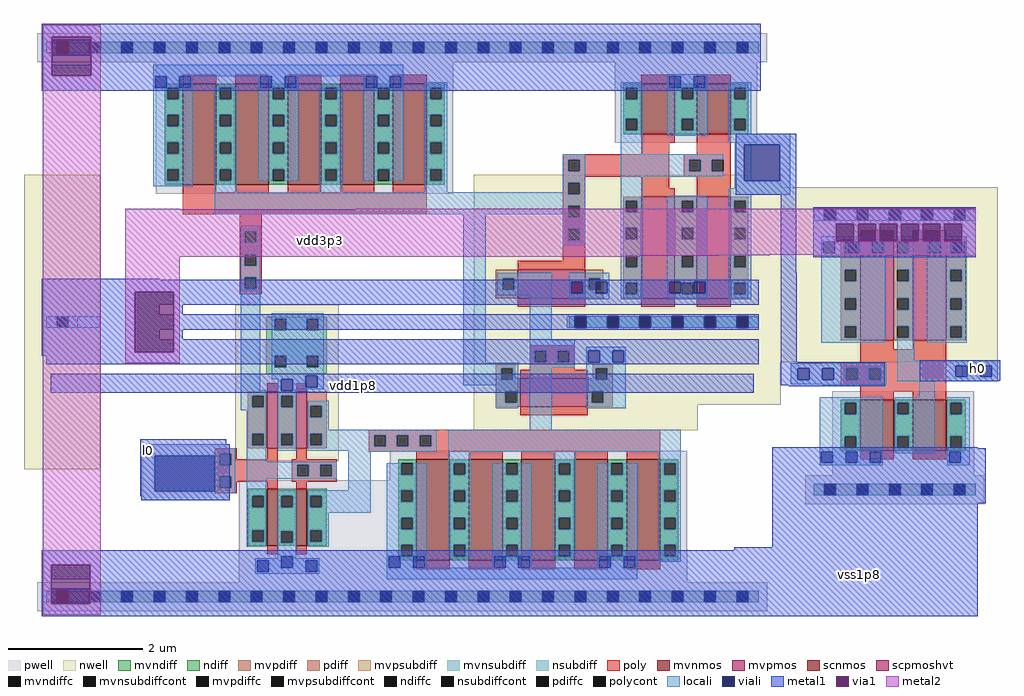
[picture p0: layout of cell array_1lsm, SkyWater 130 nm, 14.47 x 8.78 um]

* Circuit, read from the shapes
.subckt array_1lsm h0 l0 vdd1p8 vdd3p3 vss1p8
XM1 n1 n2 vss1p8 vss1p8 sky130_fd_pr__nfet_g5v0d10v5 w=1.5 l=0.5 m=5
XM2 vss1p8 l0 n2 vss1p8 sky130_fd_pr__nfet_01v8 w=0.84 l=0.15
XM3 n3 n2 vss1p8 vss1p8 sky130_fd_pr__nfet_01v8 w=0.84 l=0.15
XM4 n4 n3 vss1p8 vss1p8 sky130_fd_pr__nfet_g5v0d10v5 w=1.5 l=0.5 m=5
XM5 vss1p8 n1 n5 vss1p8 sky130_fd_pr__nfet_g5v0d10v5 w=0.75 l=0.5
XM6 invm_0/A n5 vss1p8 vss1p8 sky130_fd_pr__nfet_g5v0d10v5 w=0.75 l=0.5
XM7 h0 invm_0/A vss1p8 vss1p8 sky130_fd_pr__nfet_g5v0d10v5 w=0.75 l=0.5 m=2
XM8 vdd1p8 l0 n2 vdd1p8 sky130_fd_pr__pfet_01v8_hvt w=0.84 l=0.15
XM9 n3 n2 vdd1p8 vdd1p8 sky130_fd_pr__pfet_01v8_hvt w=0.84 l=0.15
XM10 vdd3p3 n1 n4 vdd3p3 sky130_fd_pr__pfet_g5v0d10v5 w=0.42 l=1
XM11 vdd3p3 n4 n1 vdd3p3 sky130_fd_pr__pfet_g5v0d10v5 w=0.42 l=1
XM12 vdd3p3 n1 n5 vdd3p3 sky130_fd_pr__pfet_g5v0d10v5 w=1.5 l=0.5
XM13 invm_0/A n5 vdd3p3 vdd3p3 sky130_fd_pr__pfet_g5v0d10v5 w=1.5 l=0.5
XM14 h0 invm_0/A vdd3p3 vdd3p3 sky130_fd_pr__pfet_g5v0d10v5 w=1.5 l=0.5 m=2
.ends

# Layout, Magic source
magic
tech sky130A
magscale 1 2
<< nwell >>
rect 4708 1220 4990 1474
rect 4708 954 5496 1220
<< metal1 >>
rect 4944 1220 4990 1632
rect 5082 1365 5508 1392
rect 5082 1313 5109 1365
rect 5161 1313 5173 1365
rect 5225 1313 5237 1365
rect 5289 1313 5301 1365
rect 5353 1313 5365 1365
rect 5417 1313 5429 1365
rect 5481 1313 5508 1365
rect 5082 1286 5508 1313
rect 2998 1164 3170 1200
rect 2998 984 3028 1164
rect 3144 984 3170 1164
rect 2998 954 3170 984
rect 3000 952 3168 954
rect 3658 866 3942 920
rect 4944 886 4992 1220
rect 5480 900 5594 960
rect 3044 558 3300 726
rect 4918 406 5528 702
rect 4806 202 5528 406
<< via1 >>
rect 5109 1313 5161 1365
rect 5173 1313 5225 1365
rect 5237 1313 5289 1365
rect 5301 1313 5353 1365
rect 5365 1313 5417 1365
rect 5429 1313 5481 1365
rect 3028 984 3144 1164
<< metal2 >>
rect 5042 1410 5518 1412
rect 3000 1408 3162 1410
rect 3684 1408 5522 1410
rect 3000 1365 5522 1408
rect 3000 1313 5109 1365
rect 5161 1313 5173 1365
rect 5225 1313 5237 1365
rect 5289 1313 5301 1365
rect 5353 1313 5365 1365
rect 5417 1313 5429 1365
rect 5481 1313 5522 1365
rect 3000 1274 5522 1313
rect 3000 1272 4910 1274
rect 3000 1270 4760 1272
rect 5042 1270 5518 1274
rect 3000 1268 4526 1270
rect 3000 1164 3162 1268
rect 3000 984 3028 1164
rect 3144 984 3162 1164
rect 3000 952 3162 984
use invm  invm_0
transform 1 0 2804 0 1 226
box 2164 308 2788 1248
use lsm  lsm_0
transform 1 0 2766 0 1 260
box -66 -58 2206 1698
<< labels >>
flabel metal1 s 5522 926 5530 946 0 FreeSans 9304 0 0 0 h0
port 1 nsew
flabel metal1 s 3062 674 3076 714 0 FreeSans 9304 0 0 0 l0
port 2 nsew
flabel metal1 s 3674 878 3682 896 0 FreeSans 3757 0 0 0 vdd1p8
port 3 nsew
flabel metal2 s 3574 1306 3582 1324 0 FreeSans 3757 0 0 0 vdd3p3
port 4 nsew
flabel metal1 s 5156 310 5198 340 0 FreeSans 3757 0 0 0 vss1p8
port 5 nsew
<< end >>

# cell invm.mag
magic
tech sky130A
magscale 1 2
<< locali >>
rect 2170 711 2326 726
rect 2170 677 2191 711
rect 2225 677 2263 711
rect 2297 677 2326 711
rect 2170 664 2326 677
rect 2488 719 2784 734
rect 2488 685 2659 719
rect 2693 685 2731 719
rect 2765 685 2784 719
rect 2488 672 2784 685
<< viali >>
rect 2191 677 2225 711
rect 2263 677 2297 711
rect 2659 685 2693 719
rect 2731 685 2765 719
<< metal1 >>
rect 2236 1042 2718 1188
rect 2164 711 2448 728
rect 2164 677 2191 711
rect 2225 677 2263 711
rect 2297 677 2448 711
rect 2164 658 2448 677
rect 2552 719 2788 734
rect 2552 685 2659 719
rect 2693 685 2731 719
rect 2765 685 2788 719
rect 2552 672 2788 685
rect 2210 310 2748 474
use sky130_fd_sc_hvl__inv_2  sky130_fd_sc_hvl__inv_2_0
transform 1 0 2238 0 1 351
box -66 -43 546 897
<< labels >>
flabel metal1 s 2286 1114 2314 1128 0 FreeSans 25 0 0 0 vdd3p3
port 1 nsew
flabel metal1 s 2294 392 2322 406 0 FreeSans 25 0 0 0 vss3p3
port 2 nsew
flabel metal1 s 2742 694 2750 704 0 FreeSans 25 0 0 0 Y
port 3 nsew
flabel metal1 s 2192 686 2200 696 0 FreeSans 25 0 0 0 A
port 4 nsew
<< end >>

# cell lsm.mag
magic
tech sky130A
magscale 1 2
<< nwell >>
rect 1790 604 2054 660
<< locali >>
rect 2044 1339 2206 1372
rect 2044 1233 2069 1339
rect 2175 1233 2206 1339
rect 2044 1192 2206 1233
rect 282 418 544 452
rect 282 312 322 418
rect 500 312 544 418
rect 282 286 544 312
<< viali >>
rect 2069 1233 2175 1339
rect 322 312 500 418
<< metal1 >>
rect -14 1660 2118 1698
rect -14 1544 17 1660
rect 133 1544 2118 1660
rect -14 1500 2118 1544
rect 2044 1339 2206 1372
rect 2044 1233 2069 1339
rect 2175 1233 2206 1339
rect 2044 1192 2206 1233
rect -14 714 336 942
rect 884 870 1158 936
rect 886 798 1196 836
rect 892 700 1208 762
rect 218 604 482 660
rect 902 606 1204 660
rect 1790 604 2054 660
rect 282 418 544 452
rect 282 312 322 418
rect 500 312 544 418
rect 282 286 544 312
rect -14 94 2126 138
rect -14 -22 15 94
rect 131 -22 2126 94
rect -14 -58 2126 -22
<< via1 >>
rect 17 1544 133 1660
rect 15 -22 131 94
<< metal2 >>
rect -10 1660 162 1696
rect -10 1544 17 1660
rect 133 1544 162 1660
rect -10 94 162 1544
rect -10 -22 15 94
rect 131 -22 162 94
rect -10 -54 162 -22
use sky130_fd_sc_hvl__lsbuflv2hv_1  sky130_fd_sc_hvl__lsbuflv2hv_1_0
transform 1 0 0 0 1 0
box -66 -43 2178 1671
<< labels >>
flabel metal1 s 358 76 404 96 0 FreeSans 94 0 0 0 vss1p8
port 1 nsew
flabel metal1 s 400 438 418 444 0 FreeSans 94 0 0 0 A
port 2 nsew
flabel metal1 s 2194 1266 2202 1282 0 FreeSans 94 0 0 0 X
port 3 nsew
flabel metal1 s 1896 620 1922 640 0 FreeSans 61 0 0 0 vdd1p8
port 4 nsew
flabel metal1 s 210 806 254 826 0 FreeSans 61 0 0 0 vdd3p3
port 5 nsew
<< end >>

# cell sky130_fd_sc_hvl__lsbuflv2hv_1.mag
magic
tech sky130A
magscale 1 2
<< nwell >>
rect -66 377 160 1251
rect 560 403 867 865
rect 1267 568 2178 1251
rect 1267 493 1932 568
<< pwell >>
rect -26 1585 2138 1671
rect 325 1195 1207 1585
rect 1685 1345 2108 1585
rect 1018 345 1900 433
rect 571 43 1900 345
rect -26 -43 2138 43
<< scnmos >>
rect 656 151 686 319
rect 742 151 772 319
<< scpmoshvt >>
rect 656 439 686 607
rect 742 439 772 607
<< mvnmos >>
rect 404 1221 504 1521
rect 560 1221 660 1521
rect 716 1221 816 1521
rect 872 1221 972 1521
rect 1028 1221 1128 1521
rect 1764 1371 1864 1521
rect 1929 1371 2029 1521
rect 1097 107 1197 407
rect 1253 107 1353 407
rect 1409 107 1509 407
rect 1565 107 1665 407
rect 1721 107 1821 407
<< mvpmos >>
rect 1398 885 1598 969
rect 1764 885 1864 1185
rect 1929 885 2029 1185
rect 1406 563 1606 647
<< ndiff >>
rect 597 299 656 319
rect 597 265 611 299
rect 645 265 656 299
rect 597 197 656 265
rect 597 163 611 197
rect 645 163 656 197
rect 597 151 656 163
rect 686 299 742 319
rect 686 265 697 299
rect 731 265 742 299
rect 686 193 742 265
rect 686 159 697 193
rect 731 159 742 193
rect 686 151 742 159
rect 772 299 831 319
rect 772 265 783 299
rect 817 265 831 299
rect 772 197 831 265
rect 772 163 783 197
rect 817 163 831 197
rect 772 151 831 163
<< pdiff >>
rect 597 595 656 607
rect 597 561 611 595
rect 645 561 656 595
rect 597 483 656 561
rect 597 449 611 483
rect 645 449 656 483
rect 597 439 656 449
rect 686 595 742 607
rect 686 561 697 595
rect 731 561 742 595
rect 686 483 742 561
rect 686 449 697 483
rect 731 449 742 483
rect 686 439 742 449
rect 772 565 831 607
rect 772 531 783 565
rect 817 531 831 565
rect 772 483 831 531
rect 772 449 783 483
rect 817 449 831 483
rect 772 439 831 449
<< mvndiff >>
rect 351 1509 404 1521
rect 351 1475 359 1509
rect 393 1475 404 1509
rect 351 1429 404 1475
rect 351 1395 359 1429
rect 393 1395 404 1429
rect 351 1347 404 1395
rect 351 1313 359 1347
rect 393 1313 404 1347
rect 351 1267 404 1313
rect 351 1233 359 1267
rect 393 1233 404 1267
rect 351 1221 404 1233
rect 504 1509 560 1521
rect 504 1475 515 1509
rect 549 1475 560 1509
rect 504 1429 560 1475
rect 504 1395 515 1429
rect 549 1395 560 1429
rect 504 1347 560 1395
rect 504 1313 515 1347
rect 549 1313 560 1347
rect 504 1267 560 1313
rect 504 1233 515 1267
rect 549 1233 560 1267
rect 504 1221 560 1233
rect 660 1509 716 1521
rect 660 1475 671 1509
rect 705 1475 716 1509
rect 660 1429 716 1475
rect 660 1395 671 1429
rect 705 1395 716 1429
rect 660 1347 716 1395
rect 660 1313 671 1347
rect 705 1313 716 1347
rect 660 1267 716 1313
rect 660 1233 671 1267
rect 705 1233 716 1267
rect 660 1221 716 1233
rect 816 1509 872 1521
rect 816 1475 827 1509
rect 861 1475 872 1509
rect 816 1429 872 1475
rect 816 1395 827 1429
rect 861 1395 872 1429
rect 816 1347 872 1395
rect 816 1313 827 1347
rect 861 1313 872 1347
rect 816 1267 872 1313
rect 816 1233 827 1267
rect 861 1233 872 1267
rect 816 1221 872 1233
rect 972 1509 1028 1521
rect 972 1475 983 1509
rect 1017 1475 1028 1509
rect 972 1429 1028 1475
rect 972 1395 983 1429
rect 1017 1395 1028 1429
rect 972 1347 1028 1395
rect 972 1313 983 1347
rect 1017 1313 1028 1347
rect 972 1267 1028 1313
rect 972 1233 983 1267
rect 1017 1233 1028 1267
rect 972 1221 1028 1233
rect 1128 1509 1181 1521
rect 1128 1475 1139 1509
rect 1173 1475 1181 1509
rect 1128 1429 1181 1475
rect 1128 1395 1139 1429
rect 1173 1395 1181 1429
rect 1128 1347 1181 1395
rect 1711 1509 1764 1521
rect 1711 1475 1719 1509
rect 1753 1475 1764 1509
rect 1711 1417 1764 1475
rect 1711 1383 1719 1417
rect 1753 1383 1764 1417
rect 1711 1371 1764 1383
rect 1864 1509 1929 1521
rect 1864 1475 1884 1509
rect 1918 1475 1929 1509
rect 1864 1417 1929 1475
rect 1864 1383 1884 1417
rect 1918 1383 1929 1417
rect 1864 1371 1929 1383
rect 2029 1509 2082 1521
rect 2029 1475 2040 1509
rect 2074 1475 2082 1509
rect 2029 1417 2082 1475
rect 2029 1383 2040 1417
rect 2074 1383 2082 1417
rect 2029 1371 2082 1383
rect 1128 1313 1139 1347
rect 1173 1313 1181 1347
rect 1128 1267 1181 1313
rect 1128 1233 1139 1267
rect 1173 1233 1181 1267
rect 1128 1221 1181 1233
rect 1044 395 1097 407
rect 1044 361 1052 395
rect 1086 361 1097 395
rect 1044 315 1097 361
rect 1044 281 1052 315
rect 1086 281 1097 315
rect 1044 233 1097 281
rect 1044 199 1052 233
rect 1086 199 1097 233
rect 1044 153 1097 199
rect 1044 119 1052 153
rect 1086 119 1097 153
rect 1044 107 1097 119
rect 1197 395 1253 407
rect 1197 361 1208 395
rect 1242 361 1253 395
rect 1197 315 1253 361
rect 1197 281 1208 315
rect 1242 281 1253 315
rect 1197 233 1253 281
rect 1197 199 1208 233
rect 1242 199 1253 233
rect 1197 153 1253 199
rect 1197 119 1208 153
rect 1242 119 1253 153
rect 1197 107 1253 119
rect 1353 395 1409 407
rect 1353 361 1364 395
rect 1398 361 1409 395
rect 1353 315 1409 361
rect 1353 281 1364 315
rect 1398 281 1409 315
rect 1353 233 1409 281
rect 1353 199 1364 233
rect 1398 199 1409 233
rect 1353 153 1409 199
rect 1353 119 1364 153
rect 1398 119 1409 153
rect 1353 107 1409 119
rect 1509 395 1565 407
rect 1509 361 1520 395
rect 1554 361 1565 395
rect 1509 315 1565 361
rect 1509 281 1520 315
rect 1554 281 1565 315
rect 1509 233 1565 281
rect 1509 199 1520 233
rect 1554 199 1565 233
rect 1509 153 1565 199
rect 1509 119 1520 153
rect 1554 119 1565 153
rect 1509 107 1565 119
rect 1665 395 1721 407
rect 1665 361 1676 395
rect 1710 361 1721 395
rect 1665 315 1721 361
rect 1665 281 1676 315
rect 1710 281 1721 315
rect 1665 233 1721 281
rect 1665 199 1676 233
rect 1710 199 1721 233
rect 1665 153 1721 199
rect 1665 119 1676 153
rect 1710 119 1721 153
rect 1665 107 1721 119
rect 1821 395 1874 407
rect 1821 361 1832 395
rect 1866 361 1874 395
rect 1821 315 1874 361
rect 1821 281 1832 315
rect 1866 281 1874 315
rect 1821 233 1874 281
rect 1821 199 1832 233
rect 1866 199 1874 233
rect 1821 153 1874 199
rect 1821 119 1832 153
rect 1866 119 1874 153
rect 1821 107 1874 119
<< mvpdiff >>
rect 1711 1173 1764 1185
rect 1711 1139 1719 1173
rect 1753 1139 1764 1173
rect 1711 1093 1764 1139
rect 1711 1059 1719 1093
rect 1753 1059 1764 1093
rect 1711 1011 1764 1059
rect 1711 977 1719 1011
rect 1753 977 1764 1011
rect 1333 944 1398 969
rect 1333 910 1353 944
rect 1387 910 1398 944
rect 1333 885 1398 910
rect 1598 944 1651 969
rect 1598 910 1609 944
rect 1643 910 1651 944
rect 1598 885 1651 910
rect 1711 931 1764 977
rect 1711 897 1719 931
rect 1753 897 1764 931
rect 1711 885 1764 897
rect 1864 1173 1929 1185
rect 1864 1139 1884 1173
rect 1918 1139 1929 1173
rect 1864 1093 1929 1139
rect 1864 1059 1884 1093
rect 1918 1059 1929 1093
rect 1864 1011 1929 1059
rect 1864 977 1884 1011
rect 1918 977 1929 1011
rect 1864 931 1929 977
rect 1864 897 1884 931
rect 1918 897 1929 931
rect 1864 885 1929 897
rect 2029 1173 2082 1185
rect 2029 1139 2040 1173
rect 2074 1139 2082 1173
rect 2029 1093 2082 1139
rect 2029 1059 2040 1093
rect 2074 1059 2082 1093
rect 2029 1011 2082 1059
rect 2029 977 2040 1011
rect 2074 977 2082 1011
rect 2029 931 2082 977
rect 2029 897 2040 931
rect 2074 897 2082 931
rect 2029 885 2082 897
rect 1333 677 1391 689
rect 1333 643 1349 677
rect 1383 647 1391 677
rect 1621 677 1679 689
rect 1621 647 1629 677
rect 1383 643 1406 647
rect 1333 609 1406 643
rect 1333 575 1361 609
rect 1395 575 1406 609
rect 1333 563 1406 575
rect 1606 643 1629 647
rect 1663 643 1679 677
rect 1606 609 1679 643
rect 1606 575 1617 609
rect 1651 575 1679 609
rect 1606 563 1679 575
<< ndiffc >>
rect 611 265 645 299
rect 611 163 645 197
rect 697 265 731 299
rect 697 159 731 193
rect 783 265 817 299
rect 783 163 817 197
<< pdiffc >>
rect 611 561 645 595
rect 611 449 645 483
rect 697 561 731 595
rect 697 449 731 483
rect 783 531 817 565
rect 783 449 817 483
<< mvndiffc >>
rect 359 1475 393 1509
rect 359 1395 393 1429
rect 359 1313 393 1347
rect 359 1233 393 1267
rect 515 1475 549 1509
rect 515 1395 549 1429
rect 515 1313 549 1347
rect 515 1233 549 1267
rect 671 1475 705 1509
rect 671 1395 705 1429
rect 671 1313 705 1347
rect 671 1233 705 1267
rect 827 1475 861 1509
rect 827 1395 861 1429
rect 827 1313 861 1347
rect 827 1233 861 1267
rect 983 1475 1017 1509
rect 983 1395 1017 1429
rect 983 1313 1017 1347
rect 983 1233 1017 1267
rect 1139 1475 1173 1509
rect 1139 1395 1173 1429
rect 1719 1475 1753 1509
rect 1719 1383 1753 1417
rect 1884 1475 1918 1509
rect 1884 1383 1918 1417
rect 2040 1475 2074 1509
rect 2040 1383 2074 1417
rect 1139 1313 1173 1347
rect 1139 1233 1173 1267
rect 1052 361 1086 395
rect 1052 281 1086 315
rect 1052 199 1086 233
rect 1052 119 1086 153
rect 1208 361 1242 395
rect 1208 281 1242 315
rect 1208 199 1242 233
rect 1208 119 1242 153
rect 1364 361 1398 395
rect 1364 281 1398 315
rect 1364 199 1398 233
rect 1364 119 1398 153
rect 1520 361 1554 395
rect 1520 281 1554 315
rect 1520 199 1554 233
rect 1520 119 1554 153
rect 1676 361 1710 395
rect 1676 281 1710 315
rect 1676 199 1710 233
rect 1676 119 1710 153
rect 1832 361 1866 395
rect 1832 281 1866 315
rect 1832 199 1866 233
rect 1832 119 1866 153
<< mvpdiffc >>
rect 1719 1139 1753 1173
rect 1719 1059 1753 1093
rect 1719 977 1753 1011
rect 1353 910 1387 944
rect 1609 910 1643 944
rect 1719 897 1753 931
rect 1884 1139 1918 1173
rect 1884 1059 1918 1093
rect 1884 977 1918 1011
rect 1884 897 1918 931
rect 2040 1139 2074 1173
rect 2040 1059 2074 1093
rect 2040 977 2074 1011
rect 2040 897 2074 931
rect 1349 643 1383 677
rect 1361 575 1395 609
rect 1629 643 1663 677
rect 1617 575 1651 609
<< nsubdiff >>
rect 653 824 831 829
rect 653 790 677 824
rect 711 790 773 824
rect 807 790 831 824
rect 653 714 831 790
rect 653 680 677 714
rect 711 680 773 714
rect 807 680 831 714
rect 653 661 831 680
<< mvpsubdiff >>
rect 0 1611 31 1645
rect 65 1611 127 1645
rect 161 1611 223 1645
rect 257 1611 319 1645
rect 353 1611 415 1645
rect 449 1611 511 1645
rect 545 1611 607 1645
rect 641 1611 703 1645
rect 737 1611 799 1645
rect 833 1611 895 1645
rect 929 1611 991 1645
rect 1025 1611 1087 1645
rect 1121 1611 1183 1645
rect 1217 1611 1279 1645
rect 1313 1611 1375 1645
rect 1409 1611 1471 1645
rect 1505 1611 1567 1645
rect 1601 1611 1663 1645
rect 1697 1611 1759 1645
rect 1793 1611 1855 1645
rect 1889 1611 1951 1645
rect 1985 1611 2047 1645
rect 2081 1611 2112 1645
rect 0 -17 31 17
rect 65 -17 127 17
rect 161 -17 223 17
rect 257 -17 319 17
rect 353 -17 415 17
rect 449 -17 511 17
rect 545 -17 607 17
rect 641 -17 703 17
rect 737 -17 799 17
rect 833 -17 895 17
rect 929 -17 991 17
rect 1025 -17 1087 17
rect 1121 -17 1183 17
rect 1217 -17 1279 17
rect 1313 -17 1375 17
rect 1409 -17 1471 17
rect 1505 -17 1567 17
rect 1601 -17 1663 17
rect 1697 -17 1759 17
rect 1793 -17 1855 17
rect 1889 -17 1951 17
rect 1985 -17 2047 17
rect 2081 -17 2112 17
<< mvnsubdiff >>
rect 0 797 31 831
rect 65 797 94 831
rect 1543 797 1567 831
rect 1601 797 1663 831
rect 1697 797 1759 831
rect 1793 797 1855 831
rect 1889 797 1951 831
rect 1985 797 2047 831
rect 2081 797 2112 831
<< nsubdiffcont >>
rect 677 790 711 824
rect 773 790 807 824
rect 677 680 711 714
rect 773 680 807 714
<< mvpsubdiffcont >>
rect 31 1611 65 1645
rect 127 1611 161 1645
rect 223 1611 257 1645
rect 319 1611 353 1645
rect 415 1611 449 1645
rect 511 1611 545 1645
rect 607 1611 641 1645
rect 703 1611 737 1645
rect 799 1611 833 1645
rect 895 1611 929 1645
rect 991 1611 1025 1645
rect 1087 1611 1121 1645
rect 1183 1611 1217 1645
rect 1279 1611 1313 1645
rect 1375 1611 1409 1645
rect 1471 1611 1505 1645
rect 1567 1611 1601 1645
rect 1663 1611 1697 1645
rect 1759 1611 1793 1645
rect 1855 1611 1889 1645
rect 1951 1611 1985 1645
rect 2047 1611 2081 1645
rect 31 -17 65 17
rect 127 -17 161 17
rect 223 -17 257 17
rect 319 -17 353 17
rect 415 -17 449 17
rect 511 -17 545 17
rect 607 -17 641 17
rect 703 -17 737 17
rect 799 -17 833 17
rect 895 -17 929 17
rect 991 -17 1025 17
rect 1087 -17 1121 17
rect 1183 -17 1217 17
rect 1279 -17 1313 17
rect 1375 -17 1409 17
rect 1471 -17 1505 17
rect 1567 -17 1601 17
rect 1663 -17 1697 17
rect 1759 -17 1793 17
rect 1855 -17 1889 17
rect 1951 -17 1985 17
rect 2047 -17 2081 17
<< mvnsubdiffcont >>
rect 31 797 65 831
rect 1567 797 1601 831
rect 1663 797 1697 831
rect 1759 797 1793 831
rect 1855 797 1889 831
rect 1951 797 1985 831
rect 2047 797 2081 831
<< poly >>
rect 404 1521 504 1547
rect 560 1521 660 1547
rect 716 1521 816 1547
rect 872 1521 972 1547
rect 1028 1521 1128 1547
rect 1764 1521 1864 1547
rect 1929 1521 2029 1547
rect 1764 1345 1864 1371
rect 1764 1311 1848 1345
rect 1929 1311 2029 1371
rect 1532 1295 1848 1311
rect 1532 1261 1548 1295
rect 1582 1261 1848 1295
rect 1532 1245 1848 1261
rect 1890 1295 2029 1311
rect 1890 1261 1906 1295
rect 1940 1261 1974 1295
rect 2008 1261 2029 1295
rect 1890 1245 2029 1261
rect 1532 1227 1598 1245
rect 404 1199 504 1221
rect 560 1199 660 1221
rect 716 1199 816 1221
rect 872 1199 972 1221
rect 1028 1199 1128 1221
rect 404 1133 1128 1199
rect 1532 1193 1548 1227
rect 1582 1193 1598 1227
rect 1532 1159 1598 1193
rect 1764 1211 1848 1245
rect 1764 1185 1864 1211
rect 1929 1185 2029 1245
rect 573 1083 639 1133
rect 573 1049 589 1083
rect 623 1049 639 1083
rect 573 1015 639 1049
rect 573 981 589 1015
rect 623 981 639 1015
rect 1532 1125 1548 1159
rect 1582 1125 1598 1159
rect 1532 1091 1598 1125
rect 1532 1057 1548 1091
rect 1582 1057 1598 1091
rect 1532 995 1598 1057
rect 573 947 639 981
rect 1398 969 1598 995
rect 573 913 589 947
rect 623 913 639 947
rect 573 897 639 913
rect 1398 859 1598 885
rect 1764 859 1864 885
rect 1929 859 2029 885
rect 1433 729 1567 745
rect 1433 695 1449 729
rect 1483 695 1517 729
rect 1551 695 1567 729
rect 1433 673 1567 695
rect 1406 647 1606 673
rect 656 607 686 633
rect 742 607 772 633
rect 499 424 565 440
rect 1406 537 1606 563
rect 956 479 1821 495
rect 956 445 972 479
rect 1006 445 1040 479
rect 1074 445 1108 479
rect 1142 445 1821 479
rect 499 390 515 424
rect 549 407 565 424
rect 656 407 686 439
rect 742 407 772 439
rect 956 429 1821 445
rect 1097 407 1197 429
rect 1253 407 1353 429
rect 1409 407 1509 429
rect 1565 407 1665 429
rect 1721 407 1821 429
rect 549 390 686 407
rect 499 356 686 390
rect 499 322 515 356
rect 549 341 686 356
rect 728 391 862 407
rect 728 357 744 391
rect 778 357 812 391
rect 846 357 862 391
rect 728 341 862 357
rect 549 322 565 341
rect 499 306 565 322
rect 656 319 686 341
rect 742 319 772 341
rect 656 125 686 151
rect 742 125 772 151
rect 1097 81 1197 107
rect 1253 81 1353 107
rect 1409 81 1509 107
rect 1565 81 1665 107
rect 1721 81 1821 107
<< polycont >>
rect 1548 1261 1582 1295
rect 1906 1261 1940 1295
rect 1974 1261 2008 1295
rect 1548 1193 1582 1227
rect 589 1049 623 1083
rect 589 981 623 1015
rect 1548 1125 1582 1159
rect 1548 1057 1582 1091
rect 589 913 623 947
rect 1449 695 1483 729
rect 1517 695 1551 729
rect 972 445 1006 479
rect 1040 445 1074 479
rect 1108 445 1142 479
rect 515 390 549 424
rect 515 322 549 356
rect 744 357 778 391
rect 812 357 846 391
<< locali >>
rect 0 1611 31 1645
rect 65 1611 127 1645
rect 161 1611 223 1645
rect 257 1611 319 1645
rect 353 1611 415 1645
rect 449 1611 511 1645
rect 545 1611 607 1645
rect 641 1611 703 1645
rect 737 1611 799 1645
rect 833 1611 895 1645
rect 929 1611 991 1645
rect 1025 1611 1087 1645
rect 1121 1611 1183 1645
rect 1217 1611 1279 1645
rect 1313 1611 1375 1645
rect 1409 1611 1471 1645
rect 1505 1611 1567 1645
rect 1601 1611 1663 1645
rect 1697 1611 1759 1645
rect 1793 1611 1855 1645
rect 1889 1611 1951 1645
rect 1985 1611 2047 1645
rect 2081 1611 2112 1645
rect 317 1543 1059 1577
rect 317 1509 323 1543
rect 357 1509 395 1543
rect 429 1509 435 1543
rect 629 1509 635 1543
rect 669 1509 707 1543
rect 741 1509 747 1543
rect 941 1509 947 1543
rect 981 1509 1019 1543
rect 1053 1509 1059 1543
rect 1842 1543 1960 1549
rect 317 1475 359 1509
rect 393 1475 435 1509
rect 317 1429 435 1475
rect 317 1395 359 1429
rect 393 1395 435 1429
rect 317 1347 435 1395
rect 317 1313 359 1347
rect 393 1313 435 1347
rect 317 1267 435 1313
rect 317 1233 359 1267
rect 393 1233 435 1267
rect 317 1217 435 1233
rect 499 1475 515 1509
rect 549 1475 565 1509
rect 499 1429 565 1475
rect 499 1395 515 1429
rect 549 1395 565 1429
rect 499 1347 565 1395
rect 499 1313 515 1347
rect 549 1313 565 1347
rect 499 1267 565 1313
rect 499 1233 515 1267
rect 549 1233 565 1267
rect 629 1475 671 1509
rect 705 1475 747 1509
rect 629 1429 747 1475
rect 629 1395 671 1429
rect 705 1395 747 1429
rect 629 1347 747 1395
rect 629 1313 671 1347
rect 705 1313 747 1347
rect 629 1267 747 1313
rect 629 1233 671 1267
rect 705 1233 747 1267
rect 811 1475 827 1509
rect 861 1475 877 1509
rect 811 1429 877 1475
rect 811 1395 827 1429
rect 861 1395 877 1429
rect 811 1347 877 1395
rect 811 1313 827 1347
rect 861 1313 877 1347
rect 811 1267 877 1313
rect 811 1233 827 1267
rect 861 1233 877 1267
rect 941 1475 983 1509
rect 1017 1475 1059 1509
rect 941 1429 1059 1475
rect 941 1395 983 1429
rect 1017 1395 1059 1429
rect 941 1347 1059 1395
rect 941 1313 983 1347
rect 1017 1313 1059 1347
rect 941 1267 1059 1313
rect 941 1233 983 1267
rect 1017 1233 1059 1267
rect 1123 1509 1189 1525
rect 1123 1475 1139 1509
rect 1173 1475 1189 1509
rect 1123 1429 1189 1475
rect 1123 1395 1139 1429
rect 1173 1395 1189 1429
rect 1123 1347 1189 1395
rect 1123 1313 1139 1347
rect 1173 1313 1189 1347
rect 1123 1267 1189 1313
rect 1703 1509 1769 1525
rect 1703 1475 1719 1509
rect 1753 1475 1769 1509
rect 1703 1417 1769 1475
rect 1703 1383 1719 1417
rect 1753 1383 1769 1417
rect 1703 1311 1769 1383
rect 1842 1509 1848 1543
rect 1882 1509 1920 1543
rect 1954 1509 1960 1543
rect 1842 1475 1884 1509
rect 1918 1475 1960 1509
rect 1842 1417 1960 1475
rect 1842 1383 1884 1417
rect 1918 1383 1960 1417
rect 1842 1367 1960 1383
rect 2024 1509 2090 1525
rect 2024 1475 2040 1509
rect 2074 1475 2090 1509
rect 2024 1417 2090 1475
rect 2024 1383 2040 1417
rect 2074 1383 2090 1417
rect 2024 1345 2090 1383
rect 1123 1233 1139 1267
rect 1173 1233 1189 1267
rect 499 1199 565 1233
rect 811 1199 877 1233
rect 1123 1199 1189 1233
rect 1532 1295 1598 1311
rect 1532 1261 1548 1295
rect 1582 1261 1598 1295
rect 1532 1227 1598 1261
rect 1532 1199 1548 1227
rect 499 1193 1548 1199
rect 1582 1193 1598 1227
rect 499 1159 1598 1193
rect 499 1133 1548 1159
rect 577 1083 635 1099
rect 577 1049 589 1083
rect 623 1049 635 1083
rect 577 1015 635 1049
rect 577 981 589 1015
rect 623 981 635 1015
rect 577 947 635 981
rect 577 913 589 947
rect 623 913 635 947
rect 0 797 31 831
rect 65 797 160 831
rect 577 611 635 913
rect 669 824 823 840
rect 669 790 677 824
rect 711 790 773 824
rect 807 790 823 824
rect 669 714 823 790
rect 669 680 677 714
rect 711 680 773 714
rect 807 680 823 714
rect 669 655 823 680
rect 669 645 769 655
rect 687 644 769 645
rect 577 595 653 611
rect 577 561 611 595
rect 645 561 653 595
rect 577 553 653 561
rect 595 483 653 553
rect 595 449 611 483
rect 645 449 653 483
rect 499 424 561 440
rect 499 390 515 424
rect 549 390 561 424
rect 499 356 561 390
rect 499 322 515 356
rect 549 322 561 356
rect 499 306 561 322
rect 595 399 653 449
rect 687 610 697 644
rect 731 621 769 644
rect 803 621 823 655
rect 1237 693 1303 1133
rect 1532 1125 1548 1133
rect 1582 1125 1598 1159
rect 1532 1091 1598 1125
rect 1532 1057 1548 1091
rect 1582 1057 1598 1091
rect 1532 1041 1598 1057
rect 1703 1295 2008 1311
rect 1703 1261 1906 1295
rect 1940 1261 1974 1295
rect 1703 1245 2008 1261
rect 1703 1173 1769 1245
rect 2042 1211 2090 1345
rect 1703 1139 1719 1173
rect 1753 1139 1769 1173
rect 1703 1093 1769 1139
rect 1703 1059 1719 1093
rect 1753 1059 1769 1093
rect 1703 1011 1769 1059
rect 1703 977 1719 1011
rect 1753 977 1769 1011
rect 1337 944 1499 960
rect 1337 910 1353 944
rect 1387 910 1499 944
rect 1337 894 1499 910
rect 1433 761 1499 894
rect 1551 944 1669 960
rect 1551 933 1609 944
rect 1643 933 1669 944
rect 1551 899 1557 933
rect 1591 910 1609 933
rect 1591 899 1629 910
rect 1663 899 1669 933
rect 1551 881 1669 899
rect 1703 931 1769 977
rect 1703 897 1719 931
rect 1753 897 1769 931
rect 1703 881 1769 897
rect 1842 1173 1960 1189
rect 1842 1139 1884 1173
rect 1918 1139 1960 1173
rect 1842 1093 1960 1139
rect 1842 1059 1884 1093
rect 1918 1059 1960 1093
rect 1842 1011 1960 1059
rect 1842 977 1884 1011
rect 1918 977 1960 1011
rect 1842 933 1960 977
rect 1842 899 1848 933
rect 1882 931 1920 933
rect 1882 899 1884 931
rect 1842 897 1884 899
rect 1918 899 1920 931
rect 1954 899 1960 933
rect 1918 897 1960 899
rect 1842 881 1960 897
rect 2024 1173 2090 1211
rect 2024 1139 2040 1173
rect 2074 1139 2090 1173
rect 2024 1093 2090 1139
rect 2024 1059 2040 1093
rect 2074 1059 2090 1093
rect 2024 1011 2090 1059
rect 2024 977 2040 1011
rect 2074 977 2090 1011
rect 2024 931 2090 977
rect 2024 897 2040 931
rect 2074 897 2090 931
rect 2024 881 2090 897
rect 1551 797 1567 831
rect 1601 797 1663 831
rect 1697 797 1759 831
rect 1793 797 1855 831
rect 1889 797 1951 831
rect 1985 797 2047 831
rect 2081 797 2112 831
rect 1433 729 1567 761
rect 1433 695 1449 729
rect 1483 695 1517 729
rect 1551 695 1567 729
rect 1237 677 1399 693
rect 1237 643 1349 677
rect 1383 643 1399 677
rect 1237 627 1399 643
rect 731 615 823 621
rect 731 610 741 615
rect 687 595 741 610
rect 687 561 697 595
rect 731 561 741 595
rect 1333 609 1399 627
rect 687 483 741 561
rect 687 449 697 483
rect 731 449 741 483
rect 687 433 741 449
rect 775 565 837 581
rect 775 531 783 565
rect 817 531 837 565
rect 1333 575 1361 609
rect 1395 575 1399 609
rect 1333 559 1399 575
rect 1433 679 1567 695
rect 1601 729 1719 741
rect 1601 695 1607 729
rect 1641 695 1679 729
rect 1713 695 1719 729
rect 775 495 837 531
rect 1433 495 1499 679
rect 1601 677 1719 695
rect 1601 643 1629 677
rect 1663 643 1719 677
rect 1601 609 1719 643
rect 1601 575 1617 609
rect 1651 575 1719 609
rect 1601 559 1719 575
rect 775 483 1158 495
rect 775 449 783 483
rect 817 479 1158 483
rect 817 449 972 479
rect 775 445 972 449
rect 1006 445 1040 479
rect 1074 445 1108 479
rect 1142 445 1158 479
rect 775 433 1158 445
rect 896 429 1158 433
rect 1192 429 1882 495
rect 595 391 862 399
rect 595 357 744 391
rect 778 357 812 391
rect 846 357 862 391
rect 595 349 862 357
rect 595 299 653 349
rect 896 315 962 429
rect 1192 395 1258 429
rect 1504 395 1570 429
rect 1816 395 1882 429
rect 595 265 611 299
rect 645 265 653 299
rect 595 197 653 265
rect 595 163 611 197
rect 645 163 653 197
rect 595 147 653 163
rect 687 299 741 315
rect 687 265 697 299
rect 731 265 741 299
rect 687 193 741 265
rect 687 159 697 193
rect 731 159 741 193
rect 687 119 741 159
rect 775 299 962 315
rect 775 265 783 299
rect 817 265 962 299
rect 775 249 962 265
rect 1010 361 1052 395
rect 1086 361 1128 395
rect 1010 315 1128 361
rect 1010 281 1052 315
rect 1086 281 1128 315
rect 775 197 837 249
rect 775 163 783 197
rect 817 163 837 197
rect 775 147 837 163
rect 1010 233 1128 281
rect 1010 199 1052 233
rect 1086 199 1128 233
rect 1010 153 1128 199
rect 687 113 697 119
rect 619 107 697 113
rect 619 73 625 107
rect 659 85 697 107
rect 731 113 741 119
rect 1010 119 1052 153
rect 1086 119 1128 153
rect 1192 361 1208 395
rect 1242 361 1258 395
rect 1192 315 1258 361
rect 1192 281 1208 315
rect 1242 281 1258 315
rect 1192 233 1258 281
rect 1192 199 1208 233
rect 1242 199 1258 233
rect 1192 153 1258 199
rect 1192 119 1208 153
rect 1242 119 1258 153
rect 1322 361 1364 395
rect 1398 361 1440 395
rect 1322 315 1440 361
rect 1322 281 1364 315
rect 1398 281 1440 315
rect 1322 233 1440 281
rect 1322 199 1364 233
rect 1398 199 1440 233
rect 1322 153 1440 199
rect 1322 119 1364 153
rect 1398 119 1440 153
rect 1504 361 1520 395
rect 1554 361 1570 395
rect 1504 315 1570 361
rect 1504 281 1520 315
rect 1554 281 1570 315
rect 1504 233 1570 281
rect 1504 199 1520 233
rect 1554 199 1570 233
rect 1504 153 1570 199
rect 1504 119 1520 153
rect 1554 119 1570 153
rect 1634 361 1676 395
rect 1710 361 1752 395
rect 1634 315 1752 361
rect 1634 281 1676 315
rect 1710 281 1752 315
rect 1634 233 1752 281
rect 1634 199 1676 233
rect 1710 199 1752 233
rect 1634 153 1752 199
rect 1634 119 1676 153
rect 1710 119 1752 153
rect 731 107 809 113
rect 731 85 769 107
rect 659 73 769 85
rect 803 73 809 107
rect 619 67 809 73
rect 1010 85 1016 119
rect 1050 85 1088 119
rect 1122 85 1128 119
rect 1322 85 1328 119
rect 1362 85 1400 119
rect 1434 85 1440 119
rect 1634 85 1640 119
rect 1674 85 1712 119
rect 1746 85 1752 119
rect 1816 361 1832 395
rect 1866 361 1882 395
rect 1816 315 1882 361
rect 1816 281 1832 315
rect 1866 281 1882 315
rect 1816 233 1882 281
rect 1816 199 1832 233
rect 1866 199 1882 233
rect 1816 153 1882 199
rect 1816 119 1832 153
rect 1866 119 1882 153
rect 1816 103 1882 119
rect 1010 51 1752 85
rect 0 -17 31 17
rect 65 -17 127 17
rect 161 -17 223 17
rect 257 -17 319 17
rect 353 -17 415 17
rect 449 -17 511 17
rect 545 -17 607 17
rect 641 -17 703 17
rect 737 -17 799 17
rect 833 -17 895 17
rect 929 -17 991 17
rect 1025 -17 1087 17
rect 1121 -17 1183 17
rect 1217 -17 1279 17
rect 1313 -17 1375 17
rect 1409 -17 1471 17
rect 1505 -17 1567 17
rect 1601 -17 1663 17
rect 1697 -17 1759 17
rect 1793 -17 1855 17
rect 1889 -17 1951 17
rect 1985 -17 2047 17
rect 2081 -17 2112 17
<< viali >>
rect 31 1611 65 1645
rect 127 1611 161 1645
rect 223 1611 257 1645
rect 319 1611 353 1645
rect 415 1611 449 1645
rect 511 1611 545 1645
rect 607 1611 641 1645
rect 703 1611 737 1645
rect 799 1611 833 1645
rect 895 1611 929 1645
rect 991 1611 1025 1645
rect 1087 1611 1121 1645
rect 1183 1611 1217 1645
rect 1279 1611 1313 1645
rect 1375 1611 1409 1645
rect 1471 1611 1505 1645
rect 1567 1611 1601 1645
rect 1663 1611 1697 1645
rect 1759 1611 1793 1645
rect 1855 1611 1889 1645
rect 1951 1611 1985 1645
rect 2047 1611 2081 1645
rect 323 1509 357 1543
rect 395 1509 429 1543
rect 635 1509 669 1543
rect 707 1509 741 1543
rect 947 1509 981 1543
rect 1019 1509 1053 1543
rect 1848 1509 1882 1543
rect 1920 1509 1954 1543
rect 31 797 65 831
rect 697 610 731 644
rect 769 621 803 655
rect 1557 899 1591 933
rect 1629 910 1643 933
rect 1643 910 1663 933
rect 1629 899 1663 910
rect 1848 899 1882 933
rect 1920 899 1954 933
rect 1567 797 1601 831
rect 1663 797 1697 831
rect 1759 797 1793 831
rect 1855 797 1889 831
rect 1951 797 1985 831
rect 2047 797 2081 831
rect 1607 695 1641 729
rect 1679 695 1713 729
rect 625 73 659 107
rect 697 85 731 119
rect 769 73 803 107
rect 1016 85 1050 119
rect 1088 85 1122 119
rect 1328 85 1362 119
rect 1400 85 1434 119
rect 1640 85 1674 119
rect 1712 85 1746 119
rect 31 -17 65 17
rect 127 -17 161 17
rect 223 -17 257 17
rect 319 -17 353 17
rect 415 -17 449 17
rect 511 -17 545 17
rect 607 -17 641 17
rect 703 -17 737 17
rect 799 -17 833 17
rect 895 -17 929 17
rect 991 -17 1025 17
rect 1087 -17 1121 17
rect 1183 -17 1217 17
rect 1279 -17 1313 17
rect 1375 -17 1409 17
rect 1471 -17 1505 17
rect 1567 -17 1601 17
rect 1663 -17 1697 17
rect 1759 -17 1793 17
rect 1855 -17 1889 17
rect 1951 -17 1985 17
rect 2047 -17 2081 17
<< metal1 >>
rect 0 1645 2112 1651
rect 0 1611 31 1645
rect 65 1611 127 1645
rect 161 1611 223 1645
rect 257 1611 319 1645
rect 353 1611 415 1645
rect 449 1611 511 1645
rect 545 1611 607 1645
rect 641 1611 703 1645
rect 737 1611 799 1645
rect 833 1611 895 1645
rect 929 1611 991 1645
rect 1025 1611 1087 1645
rect 1121 1611 1183 1645
rect 1217 1611 1279 1645
rect 1313 1611 1375 1645
rect 1409 1611 1471 1645
rect 1505 1611 1567 1645
rect 1601 1611 1663 1645
rect 1697 1611 1759 1645
rect 1793 1611 1855 1645
rect 1889 1611 1951 1645
rect 1985 1611 2047 1645
rect 2081 1611 2112 1645
rect 0 1605 2112 1611
rect 0 1543 2112 1577
rect 0 1509 323 1543
rect 357 1509 395 1543
rect 429 1509 635 1543
rect 669 1509 707 1543
rect 741 1509 947 1543
rect 981 1509 1019 1543
rect 1053 1509 1848 1543
rect 1882 1509 1920 1543
rect 1954 1509 2112 1543
rect 0 1503 2112 1509
rect 0 933 2112 939
rect 0 899 1557 933
rect 1591 899 1629 933
rect 1663 899 1848 933
rect 1882 899 1920 933
rect 1954 899 2112 933
rect 0 865 2112 899
rect 0 831 2112 837
rect 0 797 31 831
rect 65 797 1567 831
rect 1601 797 1663 831
rect 1697 797 1759 831
rect 1793 797 1855 831
rect 1889 797 1951 831
rect 1985 797 2047 831
rect 2081 797 2112 831
rect 0 791 2112 797
rect 0 729 2112 763
rect 0 695 1607 729
rect 1641 695 1679 729
rect 1713 695 2112 729
rect 0 689 2112 695
rect 14 655 2098 661
rect 14 644 769 655
rect 14 610 697 644
rect 731 621 769 644
rect 803 621 2098 655
rect 731 610 2098 621
rect 14 604 2098 610
rect 0 119 2112 125
rect 0 107 697 119
rect 0 73 625 107
rect 659 85 697 107
rect 731 107 1016 119
rect 731 85 769 107
rect 659 73 769 85
rect 803 85 1016 107
rect 1050 85 1088 119
rect 1122 85 1328 119
rect 1362 85 1400 119
rect 1434 85 1640 119
rect 1674 85 1712 119
rect 1746 85 2112 119
rect 803 73 2112 85
rect 0 51 2112 73
rect 0 17 2112 23
rect 0 -17 31 17
rect 65 -17 127 17
rect 161 -17 223 17
rect 257 -17 319 17
rect 353 -17 415 17
rect 449 -17 511 17
rect 545 -17 607 17
rect 641 -17 703 17
rect 737 -17 799 17
rect 833 -17 895 17
rect 929 -17 991 17
rect 1025 -17 1087 17
rect 1121 -17 1183 17
rect 1217 -17 1279 17
rect 1313 -17 1375 17
rect 1409 -17 1471 17
rect 1505 -17 1567 17
rect 1601 -17 1663 17
rect 1697 -17 1759 17
rect 1793 -17 1855 17
rect 1889 -17 1951 17
rect 1985 -17 2047 17
rect 2081 -17 2112 17
rect 0 -23 2112 -17
<< labels >>
flabel metal1 s 0 1503 2112 1577 0 FreeSans 31 0 0 0 VGND
port 1 nsew
flabel metal1 s 0 51 2112 125 0 FreeSans 31 0 0 0 VGND
port 1 nsew
flabel metal1 s 0 0 2112 23 0 FreeSans 31 0 0 0 VNB
port 2 nsew
flabel metal1 s 0 1605 2112 1628 0 FreeSans 31 0 0 0 VNB
port 2 nsew
flabel metal1 s 14 604 2098 661 0 FreeSans 31 0 0 0 LVPWR
port 3 nsew
flabel metal1 s 0 791 2112 837 0 FreeSans 31 0 0 0 VPB
port 4 nsew
flabel metal1 s 0 865 2112 939 0 FreeSans 20 0 0 0 VPWR
port 5 nsew
flabel metal1 s 0 689 2112 763 0 FreeSans 20 0 0 0 VPWR
port 5 nsew
flabel locali s 511 390 545 424 0 FreeSans 31 0 0 0 A
port 6 nsew
flabel locali s 511 316 545 350 0 FreeSans 31 0 0 0 A
port 6 nsew
flabel locali s 2047 1204 2081 1238 0 FreeSans 31 0 0 0 X
port 7 nsew
flabel locali s 2047 1130 2081 1164 0 FreeSans 31 0 0 0 X
port 7 nsew
flabel locali s 2047 1056 2081 1090 0 FreeSans 31 0 0 0 X
port 7 nsew
flabel locali s 2047 1278 2081 1312 0 FreeSans 31 0 0 0 X
port 7 nsew
flabel locali s 2047 1352 2081 1386 0 FreeSans 31 0 0 0 X
port 7 nsew
<< properties >>
string FIXED_BBOX 0 0 2112 1628
<< end >>

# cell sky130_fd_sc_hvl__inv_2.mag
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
